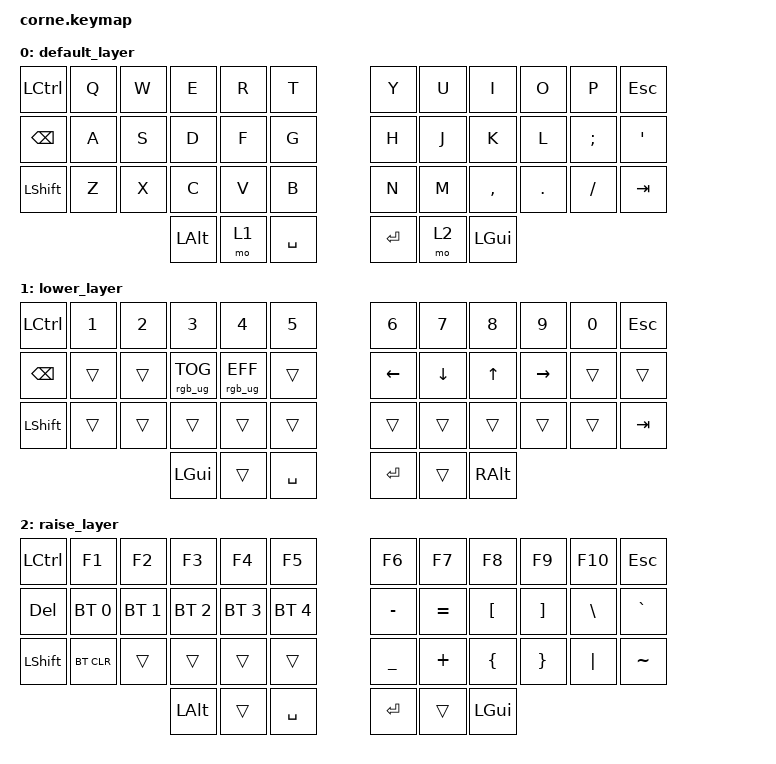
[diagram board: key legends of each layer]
/*
 * Copyright (c) 2020 The ZMK Contributors
 *
 * SPDX-License-Identifier: MIT
 */

#include <behaviors.dtsi>
#include <dt-bindings/zmk/keys.h>
#include <dt-bindings/zmk/bt.h>
#include <dt-bindings/zmk/rgb.h>

&led_strip {
    chain-length = <27>;
};

/ {
        keymap {
                compatible = "zmk,keymap";

                default_layer {
// -----------------------------------------------------------------------------------------
// | CTRL |  Q  |  W  |  E  |  R  |  T  |   |  Y  |  U   |  I  |  O  |  P  | ESC |
// | BKSP |  A  |  S  |  D  |  F  |  G  |   |  H  |  J   |  K  |  L  |  ;  |  '   |
// | SHFT |  Z  |  X  |  C  |  V  |  B  |   |  N  |  M   |  ,  |  .  |  /  | TAB  |
//                    | ALT | LWR | SPC |   | ENT | RSE  | GUI |
                        bindings = <
   &kp LCTRL   &kp Q &kp W &kp E &kp R &kp T   &kp Y &kp U  &kp I     &kp O   &kp P    &kp ESC
   &kp BSPC &kp A &kp S &kp D &kp F &kp G   &kp H &kp J  &kp K     &kp L   &kp SEMI &kp SQT
   &kp LSHFT &kp Z &kp X &kp C &kp V &kp B   &kp N &kp M  &kp COMMA &kp DOT &kp FSLH &kp TAB
                  &kp LALT &mo 1 &kp SPACE   &kp RET &mo 2 &kp LGUI
                        >;
                };
                lower_layer {
// -----------------------------------------------------------------------------------------
// | CTRL |  1  |  2  |  3  |  4  |  5  |                |  6  |  7  |  8  |  9  |  0  | ESC |
// | BKSP |      |     |  RGB_TOG   |  RGB_EFF |     |   | LFT | DWN |  UP | RGT |     |      |
// | SHFT |     |     |     |     |     |   |     |     |     |     |     | TAB |
//                    | ALT |     | SPC |   | ENT |     | GUI |
                        bindings = <
   &kp LCTRL    &kp N1       &kp N2       &kp N3       &kp N4      &kp N5         &kp N6   &kp N7   &kp N8 &kp N9    &kp N0 &kp ESC
   &kp BKSP     &trans       &trans    &rgb_ug RGB_TOG      &rgb_ug RGB_EFF       &trans         &kp LEFT &kp DOWN &kp UP &kp RIGHT &trans &trans
   &kp LSHFT    &trans       &trans       &trans       &trans       &trans         &trans   &trans   &trans &trans    &trans &kp TAB
                                    &kp LGUI     &trans       &kp SPACE      &kp RET  &trans   &kp RALT
                        >;
                };

                raise_layer {
// -----------------------------------------------------------------------------------------
// | CTRL |  F1  |  F2  |  F3  |  F4  |  F5  |   |  F6  |  F7  |  F8  |  F9  |  F10  | ESC |
// | DEL | BT1 | BT2 | BT3 | BT4 | BT5 |   |  -  |  =  |  [  |  ]  |  \  |  `   |
// | SHFT | BTCLR |     |     |     |     |   |  _  |  +  |  {  |  }  | "|" |  ~   |
//                    | ALT |     | SPC |   | ENT |     | GUI |
                        bindings = <
   &kp LCTRL  &kp F1       &kp F2       &kp F3       &kp F4       &kp F5           &kp F6   &kp F7   &kp F8 &kp F9  &kp F10 &kp ESC
   &kp DEL  &bt BT_SEL 0 &bt BT_SEL 1 &bt BT_SEL 2 &bt BT_SEL 3 &bt BT_SEL 4      &kp MINUS &kp EQUAL &kp LBKT &kp RBKT &kp BSLH &kp GRAVE
   &kp LSHFT &bt BT_CLR  &trans &trans   &trans   &trans      &kp UNDER &kp PLUS  &kp LBRC        &kp RBRC &kp PIPE &kp TILDE
                             &kp LALT &trans   &kp SPACE   &kp RET   &trans    &kp LGUI
                        >;
                };
        };
};
